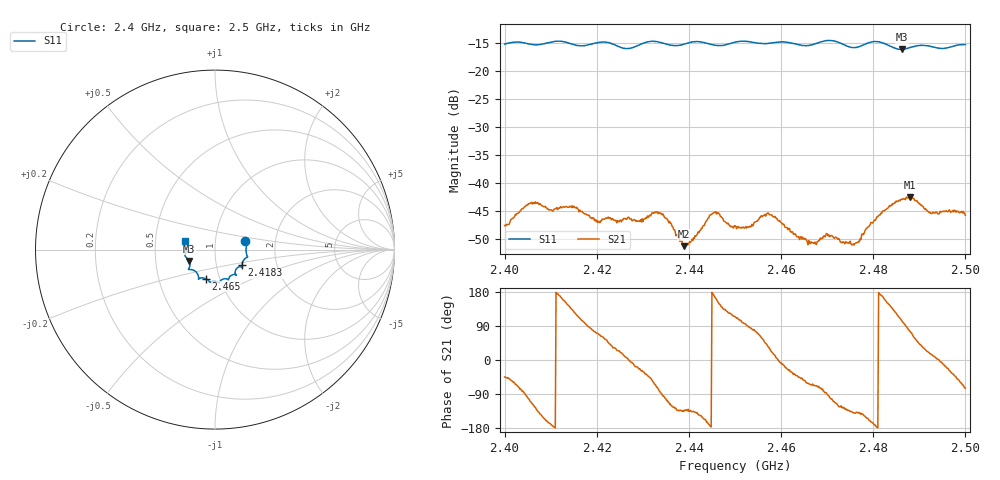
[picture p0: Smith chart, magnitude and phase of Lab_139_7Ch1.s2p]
# Hz S RI R 50
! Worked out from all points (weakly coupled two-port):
!   601 points, 2.4 GHz to 2.5 GHz, reference 50 ohm
!   highest |S21| = -42.44 dB at 2.488 GHz (marker M1); lowest = -51.2 dB at 2.439 GHz (marker M2)
!   lowest |S11| = -16.1 dB at 2.4862 GHz (marker M3), VSWR 1.37, Z = 37.1 - j4.81 ohm
!   |S11| at or under -10 dB: start of sweep to end of sweep
!   S12 and S22 are empty: the file has one direction only
!   S11 on the Smith chart (normalised r, x): 2.4 GHz: 1.40, +0.13; 2.4183 GHz: 1.33, -0.24; 2.465 GHz: 0.86, -0.29; 2.5 GHz: 0.71, +0.07
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2.4e9  0.1693 0.0459  0.00296 -0.00295  0 0  0 0
2.405833e9  0.1738 0.0109  -0.00267 -0.00622  0 0  0 0
2.416667e9  0.155 -0.068  -0.00144 0.00541  0 0  0 0
2.418333e9  0.15 -0.0871  0.000282 0.00518  0 0  0 0
2.420333e9  0.1515 -0.0997  0.00168 0.00426  0 0  0 0
2.429167e9  0.1122 -0.1305  0.0042 -0.00185  0 0  0 0
2.433333e9  0.1175 -0.141  0.00127 -0.00519  0 0  0 0
2.439e9  0.078 -0.1572  -0.00193 -0.00195  0 0  0 0
2.445333e9  0.0591 -0.1618  -0.00538 0.000691  0 0  0 0
2.45e9  0.0255 -0.1809  -0.00174 0.0038  0 0  0 0
2.453e9  0.019 -0.1835  0.000247 0.00404  0 0  0 0
2.457333e9  -0.0126 -0.1776  0.00447 0.00291  0 0  0 0
2.465e9  -0.0522 -0.1618  0.00186 -0.00256  0 0  0 0
2.466667e9  -0.0713 -0.1575  0.00121 -0.00267  0 0  0 0
2.470333e9  -0.092 -0.1651  -0.000285 -0.00346  0 0  0 0
2.476167e9  -0.112 -0.1191  -0.00224 -0.00189  0 0  0 0
2.480167e9  -0.1477 -0.111  -0.00456 -0.000859  0 0  0 0
2.483333e9  -0.1414 -0.0962  -0.00514 0.00328  0 0  0 0
2.486167e9  -0.144 -0.0631  -0.00173 0.00701  0 0  0 0
2.488e9  -0.1569 -0.0468  0.00195 0.0073  0 0  0 0
2.492333e9  -0.1659 -0.0262  0.00527 0.00158  0 0  0 0
2.5e9  -0.1672 0.0471  0.0014 -0.00498  0 0  0 0
